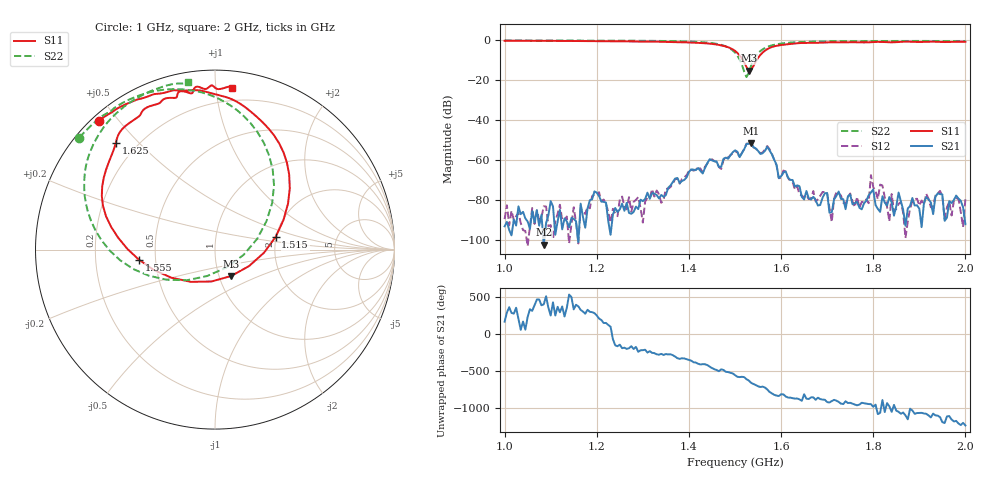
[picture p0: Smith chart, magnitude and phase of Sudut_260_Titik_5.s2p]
# Hz S RI R 50
! CMT, C1220, 16058040, 17.2.0/1
! Date: 14/08/2018 11:50:18
! Data: Format (Calibration Info)
! Freq  S11: Re/Im (F2)  S21: Re/Im (F2)  S12: Re/Im (F2)  S22: Re/Im (F2)
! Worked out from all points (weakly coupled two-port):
!   201 points, 1 GHz to 2 GHz, reference 50 ohm
!   highest |S21| = -51.50 dB at 1.535 GHz (marker M1); lowest = -102.6 dB at 1.085 GHz (marker M2)
!   lowest |S11| = -15.3 dB at 1.53 GHz (marker M3), VSWR 1.42, Z = 57.1 - j17.3 ohm
!   |S11| at or under -10 dB: 1.517 GHz to 1.547 GHz (30.2 MHz wide, 1.97 % of centre)
!   |S22| runs from -18.5 to -0.2 dB; largest |S21 - S12| = 0.00033
!   S11 on the Smith chart (normalised r, x): 1 GHz: 0.02, +0.44; 1.515 GHz: 1.99, +0.32; 1.555 GHz: 0.40, -0.06; 1.625 GHz: 0.12, +0.43; 2 GHz: 0.11, +1.11
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1e9  -0.6479 0.7147  -2.13e-05 3.39e-06  -2.44e-05 -2.17e-05  -0.7553 0.624
1.085e9  -0.5577 0.7772  5.09e-06 5.45e-06  6.48e-05 -2.29e-05  -0.6941 0.6875
1.17e9  -0.4695 0.8215  2.28e-05 -2.92e-05  5.01e-05 -7.69e-06  -0.6185 0.7504
1.335e9  -0.2076 0.8865  1.54e-05 0.000107  3.61e-05 0.000133  -0.4014 0.8656
1.45e9  0.182 0.7827  -0.000171 -0.000952  -0.000251 -0.000999  0.021 0.8403
1.47e9  0.2971 0.676  -0.000304 -0.000595  -0.000278 -0.00052  0.162 0.7424
1.5e9  0.4167 0.3421  -0.00166 0.000477  -0.00155 0.000464  0.329 0.3568
1.515e9  0.3384 0.0714  -0.00115 0.000924  -0.00123 0.000835  0.2348 0.0596
1.53e9  0.0901 -0.1472  -6.82e-06 0.00254  -2.24e-05 0.00255  -0.0433 -0.147
1.535e9  -0.0201 -0.1777  0.00139 0.00227  0.00133 0.0023  -0.1564 -0.1706
1.555e9  -0.4223 -0.0577  0.0014 6.01e-05  0.00145 8.99e-05  -0.5292 -0.0587
1.57e9  -0.5791 0.1272  0.00183 -0.0011  0.00187 -0.00118  -0.6659 0.1067
1.595e9  -0.62 0.3991  -0.000178 -0.000306  -0.000157 -0.000307  -0.7287 0.341
1.625e9  -0.5525 0.595  -0.000268 -0.00016  -0.000237 -0.000144  -0.7045 0.5198
1.65e9  -0.4993 0.6883  -9.27e-06 -0.000101  -1.87e-05 -0.000113  -0.6624 0.6156
1.67e9  -0.433 0.7348  -8.88e-05 -7.82e-05  -0.000125 -0.000109  -0.6273 0.6714
1.79e9  -0.2115 0.854  -8.38e-05 9.76e-05  -4.38e-05 6.91e-05  -0.4399 0.8408
1.795e9  -0.2102 0.8616  -9.6e-05 0.000117  -2.68e-05 0.000414  -0.4328 0.8448
1.81e9  -0.1947 0.8815  5.86e-05 -6.22e-06  3.29e-06 0.000104  -0.4116 0.8572
1.815e9  -0.1848 0.8825  4.87e-05 1.01e-05  0.000218 9.81e-05  -0.4049 0.8607
1.835e9  -0.1371 0.8707  -1.91e-05 0.000115  -2.31e-05 -1.67e-05  -0.3784 0.8741
2e9  0.0962 0.9021  -2.28e-05 -8.25e-06  -5.32e-05 -8.98e-05  -0.1528 0.9341
